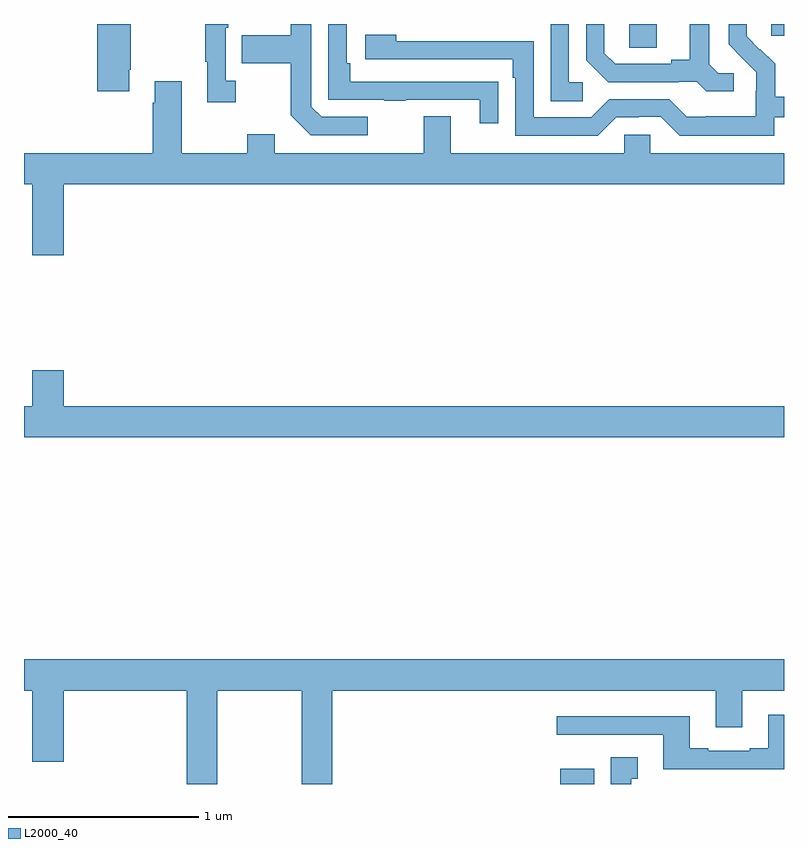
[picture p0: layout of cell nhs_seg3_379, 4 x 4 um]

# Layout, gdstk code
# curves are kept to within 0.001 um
import gdstk
lib = gdstk.Library(unit=1e-6, precision=1e-09)
def R(c, l, rs):  # rectangles x0, y0, x1, y1
    for r in rs: c.add(gdstk.rectangle(r[:2], r[2:], *l))
def P(c, l, *ps):  # polygons
    for p in ps: c.add(gdstk.Polygon(p, *l))
L2000_40 = (2000, 40)

nhs_seg3_379 = lib.new_cell('nhs_seg3_379')
R(nhs_seg3_379, L2000_40, [(131.822,724.4,132.001,724.48), (132.186,728.275,132.331,728.4), (132.932,728.337,133,728.4)])
P(nhs_seg3_379, L2000_40, [(130.81,727.911),(130.566,727.911),(130.512,727.965),(130.512,728.4),(130.404,728.4),(130.404,728.341),(130.147,728.341),(130.147,728.194),(130.404,728.194),(130.404,727.921),(130.509,727.815),(130.81,727.815)],
  [(132.948,727.908),(133,727.908),(133,728.017),(132.953,728.017),(132.953,728.191),(132.876,728.268),(132.873,728.265),(132.803,728.336),(132.803,728.4),(132.708,728.4),(132.708,728.294),(132.854,728.146),(132.854,728.049),(132.852,728.049),(132.852,727.915),(132.589,727.915),(132.589,727.911),(132.489,727.911),(132.396,728.004),(132.081,728.004),(131.985,727.908),(131.682,727.908),(131.682,728.31),(130.958,728.31),(130.958,728.344),(130.797,728.344),(130.797,728.214),(131.573,728.214),(131.573,728.117),(131.586,728.117),(131.586,727.812),(132.021,727.812),(132.117,727.908),(132.236,727.908),(132.236,727.911),(132.351,727.911),(132.451,727.811),(132.948,727.811)],
  [(129.553,728.158),(129.561,728.158),(129.561,728.4),(129.386,728.4),(129.386,728.046),(129.553,728.046)],
  [(132.736,728.142),(132.654,728.142),(132.607,728.189),(132.607,728.4),(132.503,728.4),(132.503,728.213),(132.407,728.213),(132.407,728.19),(132.112,728.19),(132.055,728.247),(132.055,728.4),(131.958,728.4),(131.958,728.21),(132.074,728.094),(132.446,728.094),(132.446,728.097),(132.54,728.097),(132.592,728.045),(132.736,728.045)],
  [(131.495,728.096),(131.393,728.096),(131.393,728.097),(130.718,728.097),(130.718,728.194),(130.698,728.194),(130.698,728.4),(130.602,728.4),(130.602,728.001),(130.897,728.001),(130.897,727.996),(131.009,727.996),(131.009,728.001),(131.399,728.001),(131.399,727.878),(131.495,727.878)],
  [(130.114,728.102),(130.062,728.102),(130.062,728.381),(130.075,728.381),(130.075,728.4),(129.954,728.4),(129.954,728.201),(129.965,728.201),(129.965,727.989),(130.114,727.989)],
  [(131.941,728.094),(131.868,728.094),(131.868,728.4),(131.772,728.4),(131.772,727.993),(131.941,727.993)],
  [(129.208,727.556),(133,727.556),(133,727.72),(132.297,727.72),(132.297,727.818),(132.159,727.818),(132.159,727.72),(131.245,727.72),(131.245,727.915),(131.105,727.915),(131.105,727.72),(130.321,727.72),(130.321,727.819),(130.174,727.819),(130.174,727.72),(129.829,727.72),(129.829,728.098),(129.689,728.098),(129.689,727.985),(129.677,727.985),(129.677,727.72),(129,727.72),(129,727.556),(129.044,727.556),(129.044,727.182),(129.208,727.182)],
  [(133,726.388),(129.208,726.388),(129.208,726.577),(129.044,726.577),(129.044,726.388),(129,726.388),(129,726.224),(133,726.224)],
  [(130.017,724.892),(130.462,724.892),(130.462,724.4),(130.622,724.4),(130.622,724.892),(132.641,724.892),(132.641,724.698),(132.781,724.698),(132.781,724.892),(133,724.892),(133,725.056),(129,725.056),(129,724.892),(129.044,724.892),(129.044,724.518),(129.208,724.518),(129.208,724.892),(129.857,724.892),(129.857,724.4),(130.017,724.4)],
  [(133,724.765),(132.917,724.765),(132.917,724.588),(132.821,724.588),(132.821,724.575),(132.601,724.575),(132.601,724.588),(132.505,724.588),(132.505,724.756),(131.805,724.756),(131.805,724.659),(132.365,724.659),(132.365,724.478),(133,724.478)],
  [(132.196,724.427),(132.229,724.427),(132.229,724.54),(132.089,724.54),(132.089,724.4),(132.196,724.4)])

lib.write_gds('nhs_seg3_379.gds')
